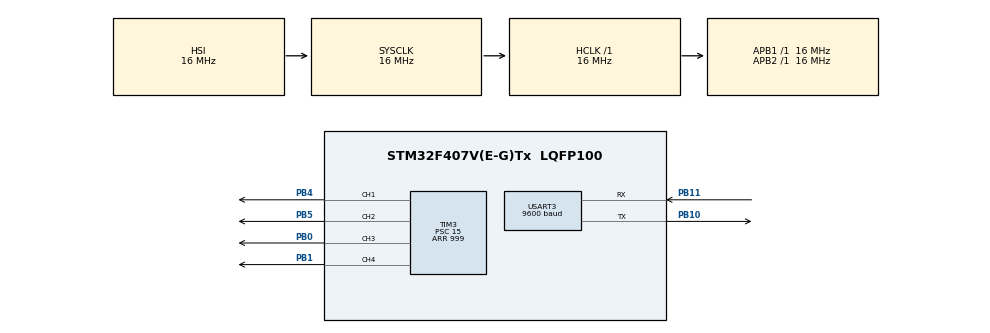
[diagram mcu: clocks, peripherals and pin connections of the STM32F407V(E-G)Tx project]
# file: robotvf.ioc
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Mcu.Family=STM32F4
Mcu.Name=STM32F407V(E-G)Tx
Mcu.Package=LQFP100
NVIC.PriorityGroup=NVIC_PRIORITYGROUP_4
NVIC.USART3_IRQn=true\:0\:0\:false\:false\:true\:true\:true\:true
PB0.Signal=S_TIM3_CH3
PB1.Signal=S_TIM3_CH4
PB10.Mode=Asynchronous
PB10.Signal=USART3_TX
PB11.Mode=Asynchronous
PB11.Signal=USART3_RX
PB4.Signal=S_TIM3_CH1
PB5.Signal=S_TIM3_CH2
ProjectManager.HeapSize=0x200
ProjectManager.StackSize=0x400
ProjectManager.TargetToolchain=STM32CubeIDE
RCC.AHBFreq_Value=16000000
RCC.APB1Freq_Value=16000000
RCC.APB2Freq_Value=16000000
RCC.CortexFreq_Value=16000000
RCC.HSE_VALUE=25000000
RCC.HSI_VALUE=16000000
RCC.LSE_VALUE=32768
RCC.SYSCLKFreq_VALUE=16000000
RCC.VCOOutputFreq_Value=192000000
SH.S_TIM3_CH1.0=TIM3_CH1,PWM Generation1 CH1
SH.S_TIM3_CH2.0=TIM3_CH2,PWM Generation2 CH2
SH.S_TIM3_CH3.0=TIM3_CH3,PWM Generation3 CH3
SH.S_TIM3_CH4.0=TIM3_CH4,PWM Generation4 CH4
TIM3.Channel-PWM\ Generation1\ CH1=TIM_CHANNEL_1
TIM3.Channel-PWM\ Generation2\ CH2=TIM_CHANNEL_2
TIM3.Channel-PWM\ Generation3\ CH3=TIM_CHANNEL_3
TIM3.Channel-PWM\ Generation4\ CH4=TIM_CHANNEL_4
TIM3.Period=999
TIM3.Prescaler=15
USART3.BaudRate=9600
USART3.VirtualMode=VM_ASYNC
board=custom

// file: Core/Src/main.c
/* USER CODE BEGIN Header */
/**
  ******************************************************************************
  * @file           : main.c
  * @brief          : Main program body
  ******************************************************************************
  * @attention
  *
  * Copyright (c) 2025 STMicroelectronics.
  * All rights reserved.
  *
  * This software is licensed under terms that can be found in the LICENSE file
  * in the root directory of this software component.
  * If no LICENSE file comes with this software, it is provided AS-IS.
  *
  ******************************************************************************
  */
/* USER CODE END Header */
#include "main.h"
#include "tim.h"
#include "usart.h"
#include "gpio.h"

/* USER CODE BEGIN PV */
uint8_t rx_char;
char rx_buffer[50];
uint8_t rx_index = 0;

/* USER CODE END PV */

void SystemClock_Config(void);

int main(void)
{

  /* MCU Configuration--------------------------------------------------------*/

  /* Reset of all peripherals, Initializes the Flash interface and the Systick. */
  HAL_Init();

  /* Configure the system clock */
  SystemClock_Config();

  /* Initialize all configured peripherals */
  MX_GPIO_Init();
  MX_TIM3_Init();
  MX_USART3_UART_Init();
  /* USER CODE BEGIN 2 */
  HAL_TIM_PWM_Start(&htim3, TIM_CHANNEL_1);
  HAL_TIM_PWM_Start(&htim3, TIM_CHANNEL_2);
  HAL_TIM_PWM_Start(&htim3, TIM_CHANNEL_3);
  HAL_TIM_PWM_Start(&htim3, TIM_CHANNEL_4);

  HAL_UART_Receive_IT(&huart3, &rx_char, 1);

  /* USER CODE END 2 */

  /* Infinite loop */
  while (1)
  {

  }
}

void SystemClock_Config(void)
{
  RCC_OscInitTypeDef RCC_OscInitStruct = {0};
  RCC_ClkInitTypeDef RCC_ClkInitStruct = {0};

  /** Configure the main internal regulator output voltage
  */
  __HAL_RCC_PWR_CLK_ENABLE();
  __HAL_PWR_VOLTAGESCALING_CONFIG(PWR_REGULATOR_VOLTAGE_SCALE1);

  /** Initializes the RCC Oscillators according to the specified parameters
  * in the RCC_OscInitTypeDef structure.
  */
  RCC_OscInitStruct.OscillatorType = RCC_OSCILLATORTYPE_HSI;
  RCC_OscInitStruct.HSIState = RCC_HSI_ON;
  RCC_OscInitStruct.HSICalibrationValue = RCC_HSICALIBRATION_DEFAULT;
  RCC_OscInitStruct.PLL.PLLState = RCC_PLL_NONE;
  if (HAL_RCC_OscConfig(&RCC_OscInitStruct) != HAL_OK)
  {
    Error_Handler();
  }

  /** Initializes the CPU, AHB and APB buses clocks
  */
  RCC_ClkInitStruct.ClockType = RCC_CLOCKTYPE_HCLK|RCC_CLOCKTYPE_SYSCLK
                              |RCC_CLOCKTYPE_PCLK1|RCC_CLOCKTYPE_PCLK2;
  RCC_ClkInitStruct.SYSCLKSource = RCC_SYSCLKSOURCE_HSI;
  RCC_ClkInitStruct.AHBCLKDivider = RCC_SYSCLK_DIV1;
  RCC_ClkInitStruct.APB1CLKDivider = RCC_HCLK_DIV1;
  RCC_ClkInitStruct.APB2CLKDivider = RCC_HCLK_DIV1;

  if (HAL_RCC_ClockConfig(&RCC_ClkInitStruct, FLASH_LATENCY_0) != HAL_OK)
  {
    Error_Handler();
  }
}

/* USER CODE BEGIN 4 */
void HAL_UART_RxCpltCallback(UART_HandleTypeDef *huart)
{
    if (huart->Instance == USART3)
    {
        /* End of command detection */
        if (rx_char == '\n' || rx_char == '\r')
        {
            rx_buffer[rx_index] = '\0';

            /* ===== COMMAND PARSING ===== */

            if (strstr(rx_buffer, "FORWARD"))
            {
                __HAL_TIM_SET_COMPARE(&htim3, TIM_CHANNEL_1, 900);
                __HAL_TIM_SET_COMPARE(&htim3, TIM_CHANNEL_3, 900);
                __HAL_TIM_SET_COMPARE(&htim3, TIM_CHANNEL_2, 0);
                __HAL_TIM_SET_COMPARE(&htim3, TIM_CHANNEL_4, 0);
            }
            else if (strstr(rx_buffer, "BACKWARD"))
            {
                __HAL_TIM_SET_COMPARE(&htim3, TIM_CHANNEL_1, 0);
                __HAL_TIM_SET_COMPARE(&htim3, TIM_CHANNEL_2, 900);
                __HAL_TIM_SET_COMPARE(&htim3, TIM_CHANNEL_3, 0);
                __HAL_TIM_SET_COMPARE(&htim3, TIM_CHANNEL_4, 900);
             }
            else if (strstr(rx_buffer, "STOP"))
            {
                __HAL_TIM_SET_COMPARE(&htim3, TIM_CHANNEL_1, 0);
                __HAL_TIM_SET_COMPARE(&htim3, TIM_CHANNEL_2, 0);
                __HAL_TIM_SET_COMPARE(&htim3, TIM_CHANNEL_3, 0);
                __HAL_TIM_SET_COMPARE(&htim3, TIM_CHANNEL_4, 0);
            }
            else if (strstr(rx_buffer, "LEFT"))
            {
                __HAL_TIM_SET_COMPARE(&htim3, TIM_CHANNEL_1, 1000);
                __HAL_TIM_SET_COMPARE(&htim3, TIM_CHANNEL_3, 500);
                __HAL_TIM_SET_COMPARE(&htim3, TIM_CHANNEL_2, 0);
                __HAL_TIM_SET_COMPARE(&htim3, TIM_CHANNEL_4, 0);
            }
            else if (strstr(rx_buffer, "RIGHT"))
            {
                __HAL_TIM_SET_COMPARE(&htim3, TIM_CHANNEL_1, 500);
                __HAL_TIM_SET_COMPARE(&htim3, TIM_CHANNEL_3, 1000);
                __HAL_TIM_SET_COMPARE(&htim3, TIM_CHANNEL_2, 0);
                __HAL_TIM_SET_COMPARE(&htim3, TIM_CHANNEL_4, 0);
            }

            /* Reset buffer */
            rx_index = 0;
            memset(rx_buffer, 0, sizeof(rx_buffer));
        }
        else
        {
            rx_buffer[rx_index++] = rx_char;

            if (rx_index >= sizeof(rx_buffer))
                rx_index = 0;
        }

        /* Restart UART reception */
        HAL_UART_Receive_IT(&huart3, &rx_char, 1);
    }
}

/* USER CODE END 4 */

void Error_Handler(void)
{
  __disable_irq();
  while (1)
  {
  }
}
